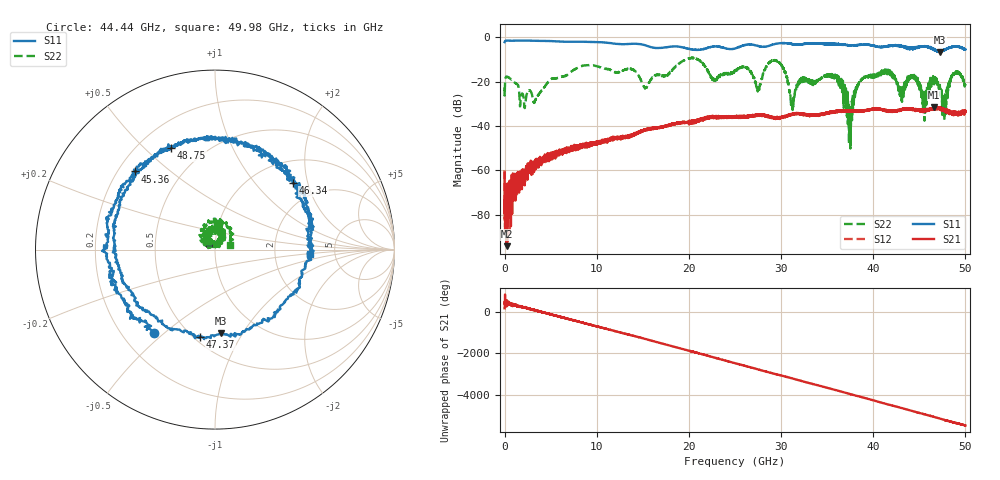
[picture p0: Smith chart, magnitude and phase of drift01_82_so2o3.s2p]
!Created with skrf (http://scikit-rf.org).
# Hz S RI R 50.0
!freq ReS11 ImS11 ReS21 ImS21 ReS12 ImS12 ReS22 ImS22
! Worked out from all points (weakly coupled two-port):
!   10001 points, 300 kHz to 50 GHz, reference 50 ohm
!   highest |S21| = -31.36 dB at 46.57 GHz (marker M1); lowest = -94.2 dB at 225.3 MHz (marker M2)
!   lowest |S11| = -6.6 dB at 47.28 GHz (marker M3), VSWR 2.76, Z = 33.9 - j40.5 ohm
!   |S11| at or under -10 dB: nowhere
!   |S22| runs from -50.1 to -9.2 dB; largest |S21 - S12| = 0.0036
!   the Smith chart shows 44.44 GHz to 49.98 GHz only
!   S11 on the Smith chart (normalised r, x): 44.44 GHz: 0.34, -0.46; 45.36 GHz: 0.27, +0.38; 46.34 GHz: 1.48, +1.62; 47.37 GHz: 0.54, -0.69; 48.75 GHz: 0.33, +0.61; 49.98 GHz: 3.25, -0.23
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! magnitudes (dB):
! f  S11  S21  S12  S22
! 300 kHz  -2.1  -61.1  -59.9  -22.6
! 225.3 MHz  -1.4  -94.2  -82.1  -17.7
! 3.29 GHz  -1.5  -58.7  -57.9  -28.8
! 8.335 GHz  -1.9  -48.6  -49.7  -12.9
! 16.67 GHz  -4.8  -40.5  -40.8  -16.7
! 25 GHz  -5.0  -36.0  -35.7  -15.2
! 29.58 GHz  -2.8  -36.2  -35.9  -10.7
! 31.23 GHz  -3.0  -34.7  -34.5  -31.7
! 33.34 GHz  -2.6  -35.0  -35.0  -20.3
! 36 GHz  -3.0  -33.3  -33.5  -18.0
! 37.47 GHz  -3.6  -33.2  -33.2  -34.7
! 38.65 GHz  -3.3  -33.4  -33.1  -19.3
! 41.67 GHz  -3.9  -33.0  -33.1  -16.3
! 44.44 GHz  -4.8  -32.8  -32.8  -16.9
! 45.36 GHz  -4.1  -33.1  -33.1  -28.0
! 46.34 GHz  -4.9  -32.4  -32.5  -18.4
! 46.57 GHz  -5.2  -31.4  -32.0  -18.9
! 47.28 GHz  -6.6  -31.8  -32.3  -24.7
! 47.37 GHz  -6.2  -32.3  -32.4  -25.6
! 48.75 GHz  -4.2  -34.1  -34.4  -16.9
! 49.98 GHz  -5.5  -32.8  -33.9  -21.1
! 50 GHz  -5.5  -33.4  -33.4  -21.1
